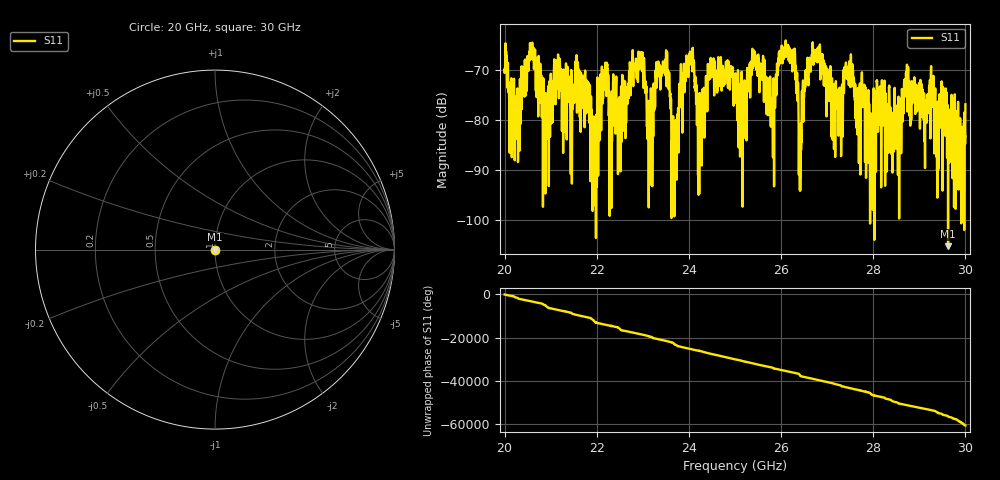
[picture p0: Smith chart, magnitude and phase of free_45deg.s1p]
#  HZ  S  RI  R  50.00
! Rohde & Schwarz ZVA40 4Ports - Version 3.90 - 1145.1110k42 SN: 100403
! Date: 2023-09-30 09:01:36
! Measurement: S12
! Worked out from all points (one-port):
!   5001 points, 20 GHz to 30 GHz, reference 50 ohm
!   lowest |S11| = -105.3 dB at 29.62 GHz (marker M1), VSWR 1.00, Z = 50 - j0.000513 ohm
!   |S11| at or under -10 dB: start of sweep to end of sweep
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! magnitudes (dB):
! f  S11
! 20 GHz  -70.0
! 20.26 GHz  -83.8
! 20.58 GHz  -66.7
! 20.88 GHz  -79.6
! 21.25 GHz  -71.6
! 22.2 GHz  -73.5
! 22.5 GHz  -82.9
! 22.95 GHz  -66.6
! 23.12 GHz  -76.2
! 23.48 GHz  -67.9
! 23.75 GHz  -79.5
! 23.99 GHz  -67.8
! 24.24 GHz  -76.0
! 24.49 GHz  -69.9
! 25 GHz  -76.6
! 25.21 GHz  -72.1
! 25.42 GHz  -67.1
! 25.82 GHz  -87.1
! 25.98 GHz  -68.1
! 26.25 GHz  -67.7
! 26.42 GHz  -84.7
! 26.73 GHz  -66.2
! 27.13 GHz  -73.1
! 27.5 GHz  -72.6
! 27.95 GHz  -81.1
! 28.75 GHz  -71.3
! 29.62 GHz  -105.3
! 30 GHz  -76.9
